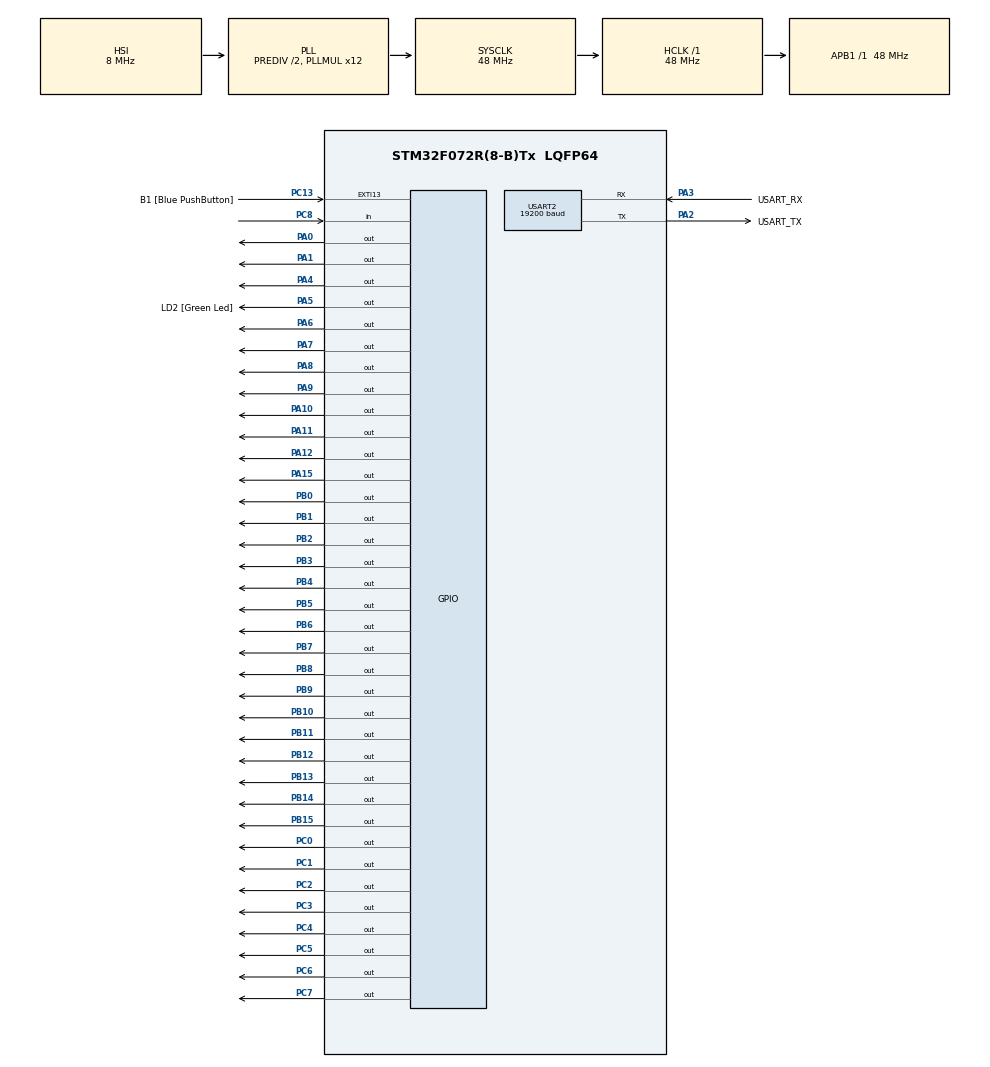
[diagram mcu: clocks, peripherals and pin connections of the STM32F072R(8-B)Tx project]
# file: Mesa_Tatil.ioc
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Mcu.Family=STM32F0
Mcu.Name=STM32F072R(8-B)Tx
Mcu.Package=LQFP64
PA0.Signal=GPIO_Output
PA1.Signal=GPIO_Output
PA10.Signal=GPIO_Output
PA11.Signal=GPIO_Output
PA12.Signal=GPIO_Output
PA13.GPIO_Label=TMS
PA13.Signal=SYS_SWDIO
PA14.GPIO_Label=TCK
PA14.Signal=SYS_SWCLK
PA15.Signal=GPIO_Output
PA2.GPIO_Label=USART_TX
PA2.GPIO_Mode=GPIO_MODE_AF_PP
PA2.GPIO_PuPd=GPIO_NOPULL
PA2.GPIO_Speed=GPIO_SPEED_FREQ_LOW
PA2.Mode=Asynchronous
PA2.Signal=USART2_TX
PA3.GPIO_Label=USART_RX
PA3.GPIO_Mode=GPIO_MODE_AF_PP
PA3.GPIO_PuPd=GPIO_NOPULL
PA3.GPIO_Speed=GPIO_SPEED_FREQ_LOW
PA3.Mode=Asynchronous
PA3.Signal=USART2_RX
PA4.Signal=GPIO_Output
PA5.GPIO_Label=LD2 [Green Led]
PA5.GPIO_Mode=GPIO_MODE_OUTPUT_PP
PA5.GPIO_PuPd=GPIO_NOPULL
PA5.GPIO_Speed=GPIO_SPEED_FREQ_LOW
PA5.Signal=GPIO_Output
PA6.Signal=GPIO_Output
PA7.Signal=GPIO_Output
PA8.Signal=GPIO_Output
PA9.Signal=GPIO_Output
PB0.Signal=GPIO_Output
PB1.Signal=GPIO_Output
PB10.Signal=GPIO_Output
PB11.Signal=GPIO_Output
PB12.Signal=GPIO_Output
PB13.Signal=GPIO_Output
PB14.GPIO_ModeDefaultOutputPP=GPIO_MODE_OUTPUT_PP
PB14.Signal=GPIO_Output
PB15.Signal=GPIO_Output
PB2.Signal=GPIO_Output
PB3.Signal=GPIO_Output
PB4.Signal=GPIO_Output
PB5.Signal=GPIO_Output
PB6.Signal=GPIO_Output
PB7.Signal=GPIO_Output
PB8.Signal=GPIO_Output
PB9.Signal=GPIO_Output
PC0.Signal=GPIO_Output
PC1.Signal=GPIO_Output
PC13.GPIO_Label=B1 [Blue PushButton]
PC13.GPIO_ModeDefaultEXTI=GPIO_MODE_IT_FALLING
PC13.Signal=GPXTI13
PC14-OSC32_IN.Signal=RCC_OSC32_IN
PC15-OSC32_OUT.Signal=RCC_OSC32_OUT
PC2.Signal=GPIO_Output
PC3.Signal=GPIO_Output
PC4.Signal=GPIO_Output
PC5.Signal=GPIO_Output
PC6.Signal=GPIO_Output
PC7.Signal=GPIO_Output
PC8.GPIO_PuPd=GPIO_PULLUP
PC8.Signal=GPIO_Input
PF0-OSC_IN.Signal=RCC_OSC_IN
PF1-OSC_OUT.Signal=RCC_OSC_OUT
ProjectManager.HeapSize=0x200
ProjectManager.StackSize=0x400
ProjectManager.TargetToolchain=MDK-ARM V5
RCC.AHBFreq_Value=48000000
RCC.APB1Freq_Value=48000000
RCC.APB1TimFreq_Value=48000000
RCC.FLatency-AdvancedSettings=FLASH_LATENCY_1
RCC.HCLKFreq_Value=48000000
RCC.PLLDivider=RCC_PREDIV_DIV2
RCC.PLLMUL=RCC_PLL_MUL12
RCC.SYSCLKFreq_VALUE=48000000
RCC.SYSCLKSource=RCC_SYSCLKSOURCE_PLLCLK
USART2.BaudRate=19200
USART2.VirtualMode-Asynchronous=VM_ASYNC
USART2.WordLength=WORDLENGTH_8B
board=NUCLEO-F072RB

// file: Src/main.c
/**
  ******************************************************************************
  * File Name          : main.c
  * Description        : Main program body
  ******************************************************************************
  ** This notice applies to any and all portions of this file
  * that are not between comment pairs USER CODE BEGIN and
  * USER CODE END. Other portions of this file, whether
  * inserted by the user or by software development tools
  * are owned by their respective copyright owners.
  *
  * COPYRIGHT(c) 2017 STMicroelectronics
  *
  * Redistribution and use in source and binary forms, with or without modification,
  * are permitted provided that the following conditions are met:
  *   1. Redistributions of source code must retain the above copyright notice,
  *      this list of conditions and the following disclaimer.
  *   2. Redistributions in binary form must reproduce the above copyright notice,
  *      this list of conditions and the following disclaimer in the documentation
  *      and/or other materials provided with the distribution.
  *   3. Neither the name of STMicroelectronics nor the names of its contributors
  *      may be used to endorse or promote products derived from this software
  *      without specific prior written permission.
  *
  * THIS SOFTWARE IS PROVIDED BY THE COPYRIGHT HOLDERS AND CONTRIBUTORS "AS IS"
  * AND ANY EXPRESS OR IMPLIED WARRANTIES, INCLUDING, BUT NOT LIMITED TO, THE
  * IMPLIED WARRANTIES OF MERCHANTABILITY AND FITNESS FOR A PARTICULAR PURPOSE ARE
  * DISCLAIMED. IN NO EVENT SHALL THE COPYRIGHT HOLDER OR CONTRIBUTORS BE LIABLE
  * FOR ANY DIRECT, INDIRECT, INCIDENTAL, SPECIAL, EXEMPLARY, OR CONSEQUENTIAL
  * DAMAGES (INCLUDING, BUT NOT LIMITED TO, PROCUREMENT OF SUBSTITUTE GOODS OR
  * SERVICES; LOSS OF USE, DATA, OR PROFITS; OR BUSINESS INTERRUPTION) HOWEVER
  * CAUSED AND ON ANY THEORY OF LIABILITY, WHETHER IN CONTRACT, STRICT LIABILITY,
  * OR TORT (INCLUDING NEGLIGENCE OR OTHERWISE) ARISING IN ANY WAY OUT OF THE USE
  * OF THIS SOFTWARE, EVEN IF ADVISED OF THE POSSIBILITY OF SUCH DAMAGE.
  *
  ******************************************************************************
  */
#include "main.h"
#include "stm32f0xx_hal.h"
#include "usart.h"
#include "gpio.h"

/* USER CODE BEGIN Includes */
#include "MesaTatilDef.h"
#include "waves.h"

/* USER CODE END Includes */

/* USER CODE BEGIN PV */
/* Private variables ---------------------------------------------------------*/
/* USER CODE END PV */

void SystemClock_Config(void);

/* USER CODE BEGIN PFP */
/* Private function prototypes -----------------------------------------------*/

/* USER CODE END PFP */

int main(void)
{

  /* MCU Configuration----------------------------------------------------------*/

  /* Reset of all peripherals, Initializes the Flash interface and the Systick. */
  HAL_Init();

  /* Configure the system clock */
  SystemClock_Config();

  /* Initialize all configured peripherals */
  MX_GPIO_Init();
  MX_USART2_UART_Init();

  /* USER CODE BEGIN 2 */
	int onda = 0;
	int old_onda = 0;
	int cont = 0;
	uint8_t dado[5];
	int serialFlag=1;
	long int dadoSerial;
  /* USER CODE END 2 */

  /* Infinite loop */
  /* USER CODE BEGIN WHILE */
  while (1)
  {

		//mesaTatil_WritePin(5,6,1);
		//mesaTatil_WritePin(5,5,1);
		if(!(GPIOC->IDR&(1<<8))){
			if (onda == NUM_WAVES){onda = 0;}
			else if (onda == HOLD){onda = old_onda;}
			else {onda++;}
			cont = 0;
			mesaTatil_update(0);
			HAL_Delay(200);
			while(!(GPIOC->IDR&(1<<8))){};
		}
		HAL_Delay(1);
		cont++;
		if (cont >= 3000){
			old_onda = onda;
			onda = HOLD;
			cont = 0;
		}

		switch(onda){
			case SERIAL:{serialFlag = 1;break;}
			case SENO:{mesaTatil_updateFromMatrix(*seno);serialFlag = 0;break;}
			case COSSENO:{mesaTatil_updateFromMatrix(*cosseno);break;}
			case QUADRADA:{mesaTatil_updateFromMatrix(*quadrada);break;}
			case TRIANGULAR:{mesaTatil_updateFromMatrix(*triangular);break;}
			case SERRA:{mesaTatil_updateFromMatrix(*serra);break;}
			case AND:{mesaTatil_updateFromMatrix(*portaand);break;}
			case OR:{mesaTatil_updateFromMatrix(*portaor);break;}
			case BUFFER:{mesaTatil_updateFromMatrix(*buffer);break;}
			case HOLD:{mesaTatil_update(0);break;}
			default:{mesaTatil_update(0);break;}
		}
		if (serialFlag == 1){
				if(HAL_UART_Receive(&huart2,dado,4, 100) == HAL_OK){
					dadoSerial = dado[0] + (dado[1]<<8) + (dado[2]<<16) + (dado[3]<<24) + (dado[4]<<32);
					HAL_Delay(100);
					HAL_UART_Transmit(&huart2,"\nOK\n",4, 100);
					mesaTatil_update(dadoSerial);
				}
		}
	/* USER CODE END WHILE */

  }

}

/** System Clock Configuration
*/
void SystemClock_Config(void)
{

  RCC_OscInitTypeDef RCC_OscInitStruct;
  RCC_ClkInitTypeDef RCC_ClkInitStruct;
  RCC_PeriphCLKInitTypeDef PeriphClkInit;

    /**Initializes the CPU, AHB and APB busses clocks
    */
  RCC_OscInitStruct.OscillatorType = RCC_OSCILLATORTYPE_HSI;
  RCC_OscInitStruct.HSIState = RCC_HSI_ON;
  RCC_OscInitStruct.HSICalibrationValue = 16;
  RCC_OscInitStruct.PLL.PLLState = RCC_PLL_ON;
  RCC_OscInitStruct.PLL.PLLSource = RCC_PLLSOURCE_HSI;
  RCC_OscInitStruct.PLL.PLLMUL = RCC_PLL_MUL12;
  RCC_OscInitStruct.PLL.PREDIV = RCC_PREDIV_DIV2;
  if (HAL_RCC_OscConfig(&RCC_OscInitStruct) != HAL_OK)
  {
    _Error_Handler(__FILE__, __LINE__);
  }

    /**Initializes the CPU, AHB and APB busses clocks
    */
  RCC_ClkInitStruct.ClockType = RCC_CLOCKTYPE_HCLK|RCC_CLOCKTYPE_SYSCLK
                              |RCC_CLOCKTYPE_PCLK1;
  RCC_ClkInitStruct.SYSCLKSource = RCC_SYSCLKSOURCE_PLLCLK;
  RCC_ClkInitStruct.AHBCLKDivider = RCC_SYSCLK_DIV1;
  RCC_ClkInitStruct.APB1CLKDivider = RCC_HCLK_DIV1;

  if (HAL_RCC_ClockConfig(&RCC_ClkInitStruct, FLASH_LATENCY_1) != HAL_OK)
  {
    _Error_Handler(__FILE__, __LINE__);
  }

  PeriphClkInit.PeriphClockSelection = RCC_PERIPHCLK_USART2;
  PeriphClkInit.Usart2ClockSelection = RCC_USART2CLKSOURCE_PCLK1;
  if (HAL_RCCEx_PeriphCLKConfig(&PeriphClkInit) != HAL_OK)
  {
    _Error_Handler(__FILE__, __LINE__);
  }

    /**Configure the Systick interrupt time
    */
  HAL_SYSTICK_Config(HAL_RCC_GetHCLKFreq()/1000);

    /**Configure the Systick
    */
  HAL_SYSTICK_CLKSourceConfig(SYSTICK_CLKSOURCE_HCLK);

  /* SysTick_IRQn interrupt configuration */
  HAL_NVIC_SetPriority(SysTick_IRQn, 0, 0);
}

void _Error_Handler(char * file, int line)
{
  while(1)
  {
  }
}

/************************ (C) COPYRIGHT STMicroelectronics *****END OF FILE****/
